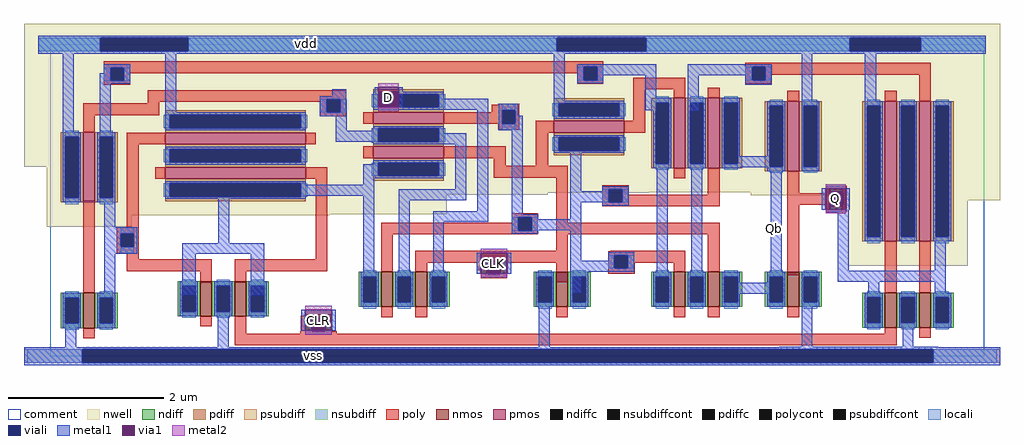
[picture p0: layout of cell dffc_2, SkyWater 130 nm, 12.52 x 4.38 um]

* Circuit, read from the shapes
.subckt dffc_2 CLK CLR D Q Qb vdd vss
XM1 n1 n2 vss vss sky130_fd_pr__nfet_01v8 w=0.45 l=0.15
XM2 vss n1 n3 vss sky130_fd_pr__nfet_01v8 w=0.45 l=0.15
XM3 n3 CLR vss vss sky130_fd_pr__nfet_01v8 w=0.45 l=0.15
XM4 n2 n4 n3 vss sky130_fd_pr__nfet_01v8 w=0.45 l=0.15
XM5 D CLK n2 vss sky130_fd_pr__nfet_01v8 w=0.45 l=0.15
XM6 n4 CLK vss vss sky130_fd_pr__nfet_01v8 w=0.45 l=0.15
XM7 n5 n4 n1 vss sky130_fd_pr__nfet_01v8 w=0.45 l=0.15
XM8 Qb CLK n5 vss sky130_fd_pr__nfet_01v8 w=0.45 l=0.15
XM9 vss Q Qb vss sky130_fd_pr__nfet_01v8 w=0.45 l=0.15
XM10 vss CLR Q vss sky130_fd_pr__nfet_01v8 w=0.45 l=0.15
XM11 Q n5 vss vss sky130_fd_pr__nfet_01v8 w=0.45 l=0.15
XM12 n1 n2 vdd vdd sky130_fd_pr__pfet_01v8 w=0.9 l=0.15
XM13 n6 CLR n3 vdd sky130_fd_pr__pfet_01v8 w=1.8 l=0.15
XM14 vdd n1 n6 vdd sky130_fd_pr__pfet_01v8 w=1.8 l=0.15
XM15 n2 CLK n3 vdd sky130_fd_pr__pfet_01v8 w=0.9 l=0.15
XM16 D n4 n2 vdd sky130_fd_pr__pfet_01v8 w=0.9 l=0.15
XM17 vdd CLK n4 vdd sky130_fd_pr__pfet_01v8 w=0.9 l=0.15
XM18 n5 CLK n1 vdd sky130_fd_pr__pfet_01v8 w=0.9 l=0.15
XM19 Qb n4 n5 vdd sky130_fd_pr__pfet_01v8 w=0.9 l=0.15
XM20 vdd Q Qb vdd sky130_fd_pr__pfet_01v8 w=0.9 l=0.15
XM21 n7 CLR vdd vdd sky130_fd_pr__pfet_01v8 w=1.8 l=0.15
XM22 Q n5 n7 vdd sky130_fd_pr__pfet_01v8 w=1.8 l=0.15
.ends

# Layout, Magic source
magic
tech sky130A
magscale 1 2
<< nwell >>
rect -67 720 2436 852
rect -67 696 1642 720
rect 1650 696 2436 720
rect -67 672 2436 696
rect -67 669 1973 672
rect -67 658 1575 669
rect -67 655 1514 658
rect -67 513 485 655
rect 648 573 1514 655
rect 1775 599 1973 669
rect 2015 669 2436 672
rect -67 486 427 513
rect 648 504 1496 573
rect 648 488 1492 504
rect 1493 488 1496 504
rect 1526 492 1852 542
rect 648 486 1505 488
rect 209 380 427 486
rect 681 484 711 486
rect 716 456 1505 486
rect 1533 456 1852 492
rect 716 436 1852 456
rect 716 424 1534 436
rect 716 422 937 424
rect 967 422 1534 424
rect 716 419 1534 422
rect 716 414 1276 419
rect 209 361 479 380
rect 716 364 1017 414
rect 2015 412 2073 669
rect 2353 400 2436 669
<< psubdiff >>
rect -67 -17 82 17
rect 2265 -17 2436 17
<< nsubdiff >>
rect -31 782 129 816
rect 354 782 1299 816
rect 1529 782 2051 816
rect 2233 782 2400 816
<< psubdiffcont >>
rect 82 -17 2265 17
<< nsubdiffcont >>
rect 129 782 354 816
rect 1299 782 1529 816
rect 2051 782 2233 816
<< poly >>
rect 138 742 1419 756
rect 138 740 1369 742
rect 138 706 155 740
rect 189 726 1369 740
rect 189 706 205 726
rect 138 696 205 706
rect 1352 708 1369 726
rect 1403 708 1419 742
rect 1783 742 2259 752
rect 1352 698 1419 708
rect 1496 684 1629 714
rect 1783 708 1800 742
rect 1834 722 2259 742
rect 1834 708 1850 722
rect 1783 698 1850 708
rect 250 659 759 682
rect 250 652 710 659
rect 250 648 280 652
rect 85 618 280 648
rect 693 625 710 652
rect 744 625 761 659
rect 1149 645 1203 647
rect 1132 630 1203 645
rect 1132 626 1159 630
rect 85 600 115 618
rect 693 615 759 625
rect 1035 596 1159 626
rect 1193 596 1203 630
rect 1149 580 1203 596
rect 197 543 269 573
rect 85 188 115 400
rect 197 331 227 543
rect 1035 508 1168 538
rect 1138 488 1168 508
rect 1245 488 1277 603
rect 1496 573 1526 684
rect 2229 654 2259 722
rect 171 314 227 331
rect 171 280 181 314
rect 215 280 227 314
rect 171 264 227 280
rect 197 248 227 264
rect 681 248 711 485
rect 1138 458 1328 488
rect 1184 356 1251 366
rect 1184 342 1201 356
rect 197 218 415 248
rect 385 188 415 218
rect 473 218 711 248
rect 849 322 1201 342
rect 1235 322 1251 356
rect 849 312 1251 322
rect 1298 342 1328 458
rect 1416 428 1484 438
rect 1416 394 1433 428
rect 1467 414 1484 428
rect 1687 414 1717 457
rect 1467 394 1717 414
rect 1416 384 1717 394
rect 1891 418 1921 456
rect 1989 420 2043 437
rect 1989 418 1999 420
rect 1891 388 1999 418
rect 1298 312 1717 342
rect 849 242 879 312
rect 1298 270 1328 312
rect 937 244 1328 270
rect 1438 269 1629 270
rect 937 240 1121 244
rect 1094 220 1121 240
rect 473 188 503 218
rect 1104 210 1121 220
rect 1155 240 1328 244
rect 1155 210 1171 240
rect 1104 200 1171 210
rect 1298 189 1328 240
rect 1431 259 1629 269
rect 1431 225 1447 259
rect 1481 240 1629 259
rect 1687 240 1717 312
rect 1481 225 1499 240
rect 1431 211 1499 225
rect 1891 208 1921 388
rect 1989 386 1999 388
rect 2033 386 2043 420
rect 1989 370 2043 386
rect 2141 189 2171 279
rect 2229 164 2259 295
rect 654 104 721 108
rect 643 98 721 104
rect 473 58 503 76
rect 643 64 671 98
rect 705 64 722 98
rect 641 58 735 64
rect 473 28 2171 58
<< polycont >>
rect 155 706 189 740
rect 1369 708 1403 742
rect 1800 708 1834 742
rect 710 625 744 659
rect 1159 596 1193 630
rect 181 280 215 314
rect 1201 322 1235 356
rect 1433 394 1467 428
rect 1121 210 1155 244
rect 1447 225 1481 259
rect 1999 386 2033 420
rect 671 64 705 98
<< locali >>
rect -31 782 129 816
rect 354 782 1299 816
rect 1529 782 2051 816
rect 2233 782 2400 816
rect 138 706 155 740
rect 189 706 205 740
rect 1352 708 1369 742
rect 1403 708 1419 742
rect 1783 708 1800 742
rect 1834 708 1850 742
rect 693 625 710 659
rect 744 625 761 659
rect 1159 630 1193 647
rect 1159 580 1193 596
rect 1416 394 1433 428
rect 1467 394 1483 428
rect 1999 420 2033 437
rect 1999 370 2033 386
rect 181 314 215 331
rect 1184 322 1201 356
rect 1235 322 1251 356
rect 181 264 215 280
rect 1104 210 1121 244
rect 1155 210 1171 244
rect 1431 225 1447 259
rect 1481 225 1498 259
rect 654 64 671 98
rect 705 64 721 98
rect -59 -17 82 17
rect 2265 -17 2428 17
<< viali >>
rect 129 782 354 816
rect 1299 782 1529 816
rect 2051 782 2233 816
rect 155 706 189 740
rect 1369 708 1403 742
rect 1800 708 1834 742
rect 710 625 744 659
rect 1159 596 1193 630
rect 1433 394 1467 428
rect 1999 386 2033 420
rect 1201 322 1235 356
rect 181 280 215 314
rect 1121 210 1155 244
rect 1447 225 1481 259
rect 671 64 705 98
rect 82 -17 2265 17
<< metal1 >>
rect -31 816 2400 822
rect -31 782 129 816
rect 354 782 1299 816
rect 1529 782 2051 816
rect 2233 782 2400 816
rect -31 776 2400 782
rect 33 574 61 776
rect 138 740 206 748
rect 138 726 155 740
rect 127 706 155 726
rect 189 706 206 740
rect 127 698 206 706
rect 127 574 155 698
rect 295 622 323 776
rect 723 667 759 684
rect 692 659 759 667
rect 692 625 710 659
rect 744 632 759 659
rect 832 638 842 690
rect 894 638 904 690
rect 1009 632 1123 660
rect 1292 647 1320 776
rect 1352 742 1554 748
rect 1352 708 1369 742
rect 1403 720 1554 742
rect 1403 708 1419 720
rect 1352 700 1419 708
rect 744 625 761 632
rect 692 615 761 625
rect 733 578 761 615
rect 825 578 841 584
rect 733 550 841 578
rect 825 547 841 550
rect 1009 544 1067 572
rect 803 439 831 492
rect 655 411 831 439
rect 1039 428 1067 544
rect 139 331 167 394
rect 139 314 223 331
rect 139 280 181 314
rect 215 280 223 314
rect 431 290 459 406
rect 139 263 223 280
rect 139 162 167 263
rect 339 262 549 290
rect 339 157 373 262
rect 515 156 549 262
rect 803 215 831 411
rect 894 400 1067 428
rect 894 216 922 400
rect 1095 372 1123 632
rect 1151 630 1201 647
rect 1526 630 1554 720
rect 1635 742 1851 748
rect 1635 720 1800 742
rect 1151 596 1159 630
rect 1193 617 1201 630
rect 1635 629 1663 720
rect 1783 708 1800 720
rect 1834 708 1851 742
rect 1783 696 1851 708
rect 1927 654 1955 776
rect 2089 654 2119 776
rect 1193 596 1212 617
rect 1151 579 1212 596
rect 982 344 1123 372
rect 1184 364 1212 579
rect 1334 423 1362 521
rect 1769 484 1839 512
rect 1416 428 1484 436
rect 1416 423 1433 428
rect 1334 395 1433 423
rect 1184 356 1252 364
rect 982 216 1010 344
rect 1184 322 1201 356
rect 1235 351 1252 356
rect 1334 351 1362 395
rect 1416 394 1433 395
rect 1467 394 1484 428
rect 1416 386 1484 394
rect 1235 323 1362 351
rect 1235 322 1252 323
rect 1184 314 1252 322
rect 1094 211 1104 265
rect 1172 211 1182 265
rect 1334 245 1362 323
rect 1431 259 1498 267
rect 1431 245 1447 259
rect 1334 225 1447 245
rect 1481 225 1498 259
rect 1334 217 1498 225
rect 1334 216 1431 217
rect 1556 216 1584 482
rect 1644 216 1672 482
rect 1848 216 1876 482
rect 1991 431 2041 437
rect 1979 376 1989 431
rect 2041 376 2051 431
rect 1989 368 2048 376
rect 2020 219 2048 368
rect 2269 219 2297 300
rect 1104 210 1121 211
rect 1155 210 1172 211
rect 1104 202 1172 210
rect 1334 163 1362 216
rect 2020 191 2297 219
rect 1769 160 1839 188
rect 2098 163 2126 191
rect 2269 163 2297 191
rect 39 23 67 72
rect 430 23 458 103
rect 644 65 654 119
rect 722 65 732 119
rect 654 64 671 65
rect 705 64 722 65
rect 654 56 722 64
rect 1253 23 1281 126
rect 1927 24 1955 126
rect 2186 24 2214 73
rect 1870 23 2277 24
rect -67 17 2436 23
rect -67 -17 82 17
rect 2265 -17 2436 17
rect -67 -23 2436 -17
<< via1 >>
rect 842 638 894 690
rect 1104 244 1172 265
rect 1104 211 1121 244
rect 1121 211 1155 244
rect 1155 211 1172 244
rect 1989 420 2041 431
rect 1989 386 1999 420
rect 1999 386 2033 420
rect 2033 386 2041 420
rect 1989 376 2041 386
rect 654 98 722 119
rect 654 65 671 98
rect 671 65 705 98
rect 705 65 722 98
<< metal2 >>
rect 842 690 894 700
rect 842 628 894 638
rect 1989 431 2041 441
rect 1989 366 2041 376
rect 1104 265 1172 275
rect 1104 201 1172 211
rect 654 119 722 129
rect 654 55 722 65
<< comment >>
rect 0 799 464 800
rect 1275 799 1529 800
rect 1866 799 2395 800
rect 0 1 1 799
rect 2394 1 2395 799
rect 0 0 2395 1
use sky130_fd_pr__nfet_01v8_J836M4  sky130_fd_pr__nfet_01v8_J836M4_1
transform 1 0 400 0 1 147
box -73 -71 73 71
use sky130_fd_pr__nfet_01v8_J836M4  sky130_fd_pr__nfet_01v8_J836M4_2
transform 1 0 488 0 1 147
box -73 -71 73 71
use sky130_fd_pr__nfet_01v8_J836M4  sky130_fd_pr__nfet_01v8_J836M4_0
transform 1 0 100 0 1 117
box -73 -71 73 71
use sky130_fd_pr__pfet_01v8_5CNMEE  sky130_fd_pr__pfet_01v8_5CNMEE_1
transform 0 1 475 -1 0 558
box -109 -242 109 242
use sky130_fd_pr__pfet_01v8_5CNMEE  sky130_fd_pr__pfet_01v8_5CNMEE_0
transform 0 1 475 -1 0 470
box -109 -242 109 242
use sky130_fd_pr__pfet_01v8_5UWV5B  sky130_fd_pr__pfet_01v8_5UWV5B_0
transform 1 0 100 0 1 484
box -109 -152 109 152
use sky130_fd_pr__nfet_01v8_J836M4  sky130_fd_pr__nfet_01v8_J836M4_3
transform 1 0 864 0 1 171
box -73 -71 73 71
use sky130_fd_pr__nfet_01v8_J836M4  sky130_fd_pr__nfet_01v8_J836M4_4
transform 1 0 952 0 1 171
box -73 -71 73 71
use sky130_fd_pr__pfet_01v8_5UWV5B  sky130_fd_pr__pfet_01v8_5UWV5B_1
transform 0 1 919 -1 0 611
box -109 -152 109 152
use sky130_fd_pr__pfet_01v8_5UWV5B  sky130_fd_pr__pfet_01v8_5UWV5B_3
transform 0 1 919 -1 0 523
box -109 -152 109 152
use sky130_fd_pr__nfet_01v8_J836M4  sky130_fd_pr__nfet_01v8_J836M4_5
transform 1 0 1313 0 1 171
box -73 -71 73 71
use sky130_fd_pr__pfet_01v8_5UWV5B  sky130_fd_pr__pfet_01v8_5UWV5B_2
transform 0 1 1382 -1 0 588
box -109 -152 109 152
use sky130_fd_pr__nfet_01v8_J836M4  sky130_fd_pr__nfet_01v8_J836M4_7
transform 1 0 1702 0 1 171
box -73 -71 73 71
use sky130_fd_pr__nfet_01v8_J836M4  sky130_fd_pr__nfet_01v8_J836M4_6
transform 1 0 1614 0 1 171
box -73 -71 73 71
use sky130_fd_pr__nfet_01v8_J836M4  sky130_fd_pr__nfet_01v8_J836M4_8
transform 1 0 1906 0 1 171
box -73 -71 73 71
use sky130_fd_pr__pfet_01v8_5UWV5B  sky130_fd_pr__pfet_01v8_5UWV5B_5
transform 1 0 1906 0 1 564
box -109 -152 109 152
use sky130_fd_pr__pfet_01v8_5UWV5B  sky130_fd_pr__pfet_01v8_5UWV5B_4
transform 1 0 1614 0 1 572
box -109 -152 109 152
use sky130_fd_pr__pfet_01v8_5UWV5B  sky130_fd_pr__pfet_01v8_5UWV5B_6
transform 1 0 1702 0 1 572
box -109 -152 109 152
use sky130_fd_pr__nfet_01v8_J836M4  sky130_fd_pr__nfet_01v8_J836M4_9
transform 1 0 2244 0 1 118
box -73 -71 73 71
use sky130_fd_pr__nfet_01v8_J836M4  sky130_fd_pr__nfet_01v8_J836M4_10
transform 1 0 2156 0 1 118
box -73 -71 73 71
use sky130_fd_pr__pfet_01v8_5CNMEE  sky130_fd_pr__pfet_01v8_5CNMEE_3
transform 1 0 2244 0 1 474
box -109 -242 109 242
use sky130_fd_pr__pfet_01v8_5CNMEE  sky130_fd_pr__pfet_01v8_5CNMEE_2
transform 1 0 2156 0 1 474
box -109 -242 109 242
<< labels >>
rlabel metal2 1104 211 1172 265 1 CLK
rlabel via1 842 638 894 690 1 D
rlabel metal2 654 65 722 119 1 CLR
rlabel metal1 1857 325 1860 329 1 Qb
rlabel metal1 660 -13 690 14 1 vss
rlabel metal1 640 791 674 813 1 vdd
rlabel metal2 1989 376 2041 431 1 Q
<< end >>

# cell sky130_fd_pr__nfet_01v8_J836M4: kit device sky130_fd_pr__nfet_01v8, w 0.45 l 0.150 m 1 nf 1 diffcov 100 polycov 100 guard 0 glc 0 grc 0 gtc 0 gbc 0 tbcov 100 rlcov 100 topc 0 botc 0 poverlap 0 doverlap 1 lmin 0.15 wmin 0.42 compatible {sky130_fd_pr__nfet_01v8 sky130_fd_pr__nfet_01v8_lvt sky130_fd_bs_flash__special_sonosfet_star sky130_fd_pr__nfet_g5v0d10v5 sky130_fd_pr__nfet_05v0_nvt} full_metal 0 viasrc 100 viadrn 100 viagate 100 viagb 0 viagr 0 viagl 0 viagt 0

# cell sky130_fd_pr__pfet_01v8_5CNMEE: kit device sky130_fd_pr__pfet_01v8, w 1.8 l 0.15 m 1 nf 1 diffcov 100 polycov 100 guard 0 glc 0 grc 0 gtc 0 gbc 0 tbcov 100 rlcov 100 topc 0 botc 0 poverlap 0 doverlap 1 lmin 0.15 wmin 0.42 compatible {sky130_fd_pr__pfet_01v8 sky130_fd_pr__pfet_01v8_lvt sky130_fd_pr__pfet_01v8_hvt sky130_fd_pr__pfet_g5v0d10v5} full_metal 0 viasrc 100 viadrn 100 viagate 100 viagb 0 viagr 0 viagl 0 viagt 0

# cell sky130_fd_pr__pfet_01v8_5UWV5B: kit device sky130_fd_pr__pfet_01v8, w 0.90 l 0.15 m 1 nf 1 diffcov 100 polycov 100 guard 0 glc 0 grc 0 gtc 0 gbc 0 tbcov 100 rlcov 100 topc 0 botc 0 poverlap 0 doverlap 1 lmin 0.15 wmin 0.42 compatible {sky130_fd_pr__pfet_01v8 sky130_fd_pr__pfet_01v8_lvt sky130_fd_pr__pfet_01v8_hvt sky130_fd_pr__pfet_g5v0d10v5} full_metal 0 viasrc 100 viadrn 100 viagate 100 viagb 0 viagr 0 viagl 0 viagt 0
